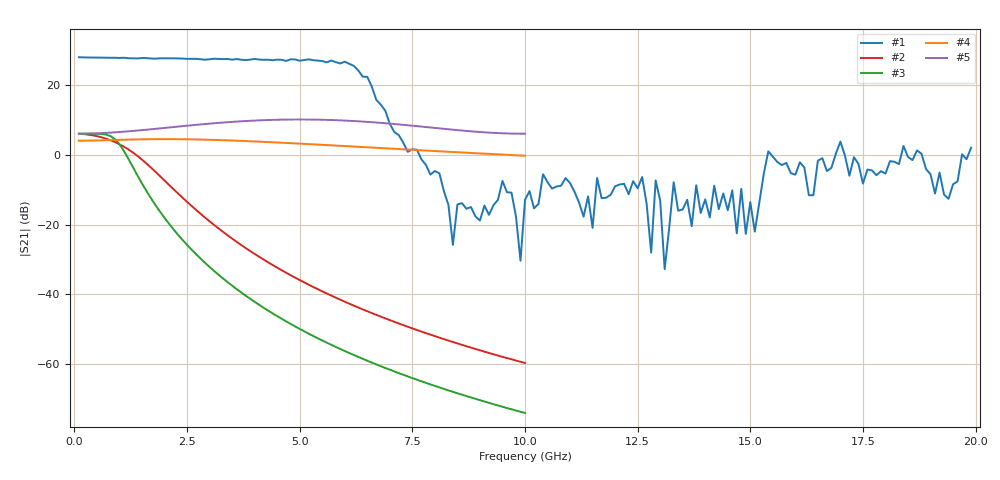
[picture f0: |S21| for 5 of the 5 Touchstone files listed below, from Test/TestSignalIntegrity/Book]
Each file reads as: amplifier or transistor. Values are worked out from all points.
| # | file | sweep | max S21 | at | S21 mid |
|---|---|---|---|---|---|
| 1 | SimulatorParserCurrentSourceOnePort.s2p | 100 MHz to 19.9 GHz | 27.9 dB | 100 MHz | -12.9 dB at 10 GHz |
| 2 | TestDeviceParser_testBesselLp.s2p | 100 MHz to 10 GHz | 6.0 dB | 100 MHz | -36.6 dB at 5.1 GHz |
| 3 | TestDeviceParser_testButterworthLp.s2p | 100 MHz to 10 GHz | 6.0 dB | 100 MHz | -50.6 dB at 5.1 GHz |
| 4 | TestDeviceParser_testCTLE.s2p | 100 MHz to 10 GHz | 4.5 dB | 2 GHz | 3.1 dB at 5.1 GHz |
| 5 | TestDeviceParser_testFFE.s2p | 100 MHz to 10 GHz | 10.1 dB | 5 GHz | 10.1 dB at 5.1 GHz |
